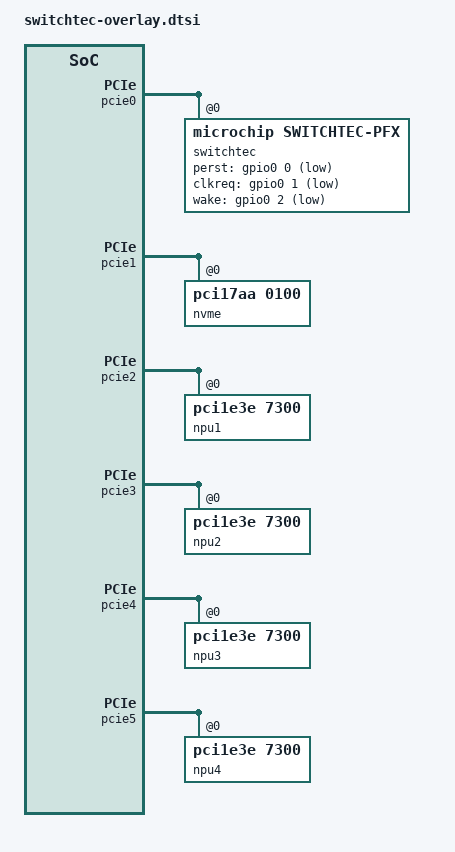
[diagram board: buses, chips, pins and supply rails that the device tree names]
/* Switchtec PFX PM40100-B0 overlay — uplink x8 → downlinks:
 * DL0 (x4) RK3588, DL1 (x4) NVMe, DL2–DL5 (x2 each) M.2 Key-E.
 * Add PERST#/CLKREQ#/WAKE# GPIOs and refclk distribution as properties.
 */

&pcie0 {
	status = "okay";
	
	/* Switchtec PM40100-B0 PCIe Switch */
	switchtec@0 {
		compatible = "microchip,switchtec-pfx";
		reg = <0x0 0x0 0x0 0x100000>;
		
		/* Uplink: Gen4 x8 from host */
		/* Downlinks:
		 * DL0: RK3588 (Gen4 x4) - Root Complex
		 * DL1: NVMe (Gen3 x4) - Storage
		 * DL2: M.2 Key-E #1 (Gen3 x2) - NPU 1
		 * DL3: M.2 Key-E #2 (Gen3 x2) - NPU 2
		 * DL4: M.2 Key-E #3 (Gen3 x2) - NPU 3
		 * DL5: M.2 Key-E #4 (Gen3 x2) - NPU 4
		 */
		
		/* Control signals */
		perst-gpio = <&gpio0 0 GPIO_ACTIVE_LOW>;
		clkreq-gpio = <&gpio0 1 GPIO_ACTIVE_LOW>;
		wake-gpio = <&gpio0 2 GPIO_ACTIVE_LOW>;
	};
};

/* NVMe endpoint (DL1) */
&pcie1 {
	status = "okay";
	
	nvme@0 {
		compatible = "pci17aa,0100";
		reg = <0x0 0x0 0x0 0x0>;
	};
};

/* M.2 Key-E endpoints (DL2-DL5) for NPUs */
&pcie2 {
	status = "okay";
	
	/* Kneron KL730 NPU #1 */
	npu1@0 {
		compatible = "pci1e3e,7300";
		reg = <0x0 0x0 0x0 0x0>;
	};
};

&pcie3 {
	status = "okay";
	
	/* Kneron KL730 NPU #2 */
	npu2@0 {
		compatible = "pci1e3e,7300";
		reg = <0x0 0x0 0x0 0x0>;
	};
};

&pcie4 {
	status = "okay";
	
	/* Kneron KL730 NPU #3 */
	npu3@0 {
		compatible = "pci1e3e,7300";
		reg = <0x0 0x0 0x0 0x0>;
	};
};

&pcie5 {
	status = "okay";
	
	/* Kneron KL730 NPU #4 */
	npu4@0 {
		compatible = "pci1e3e,7300";
		reg = <0x0 0x0 0x0 0x0>;
	};
};

